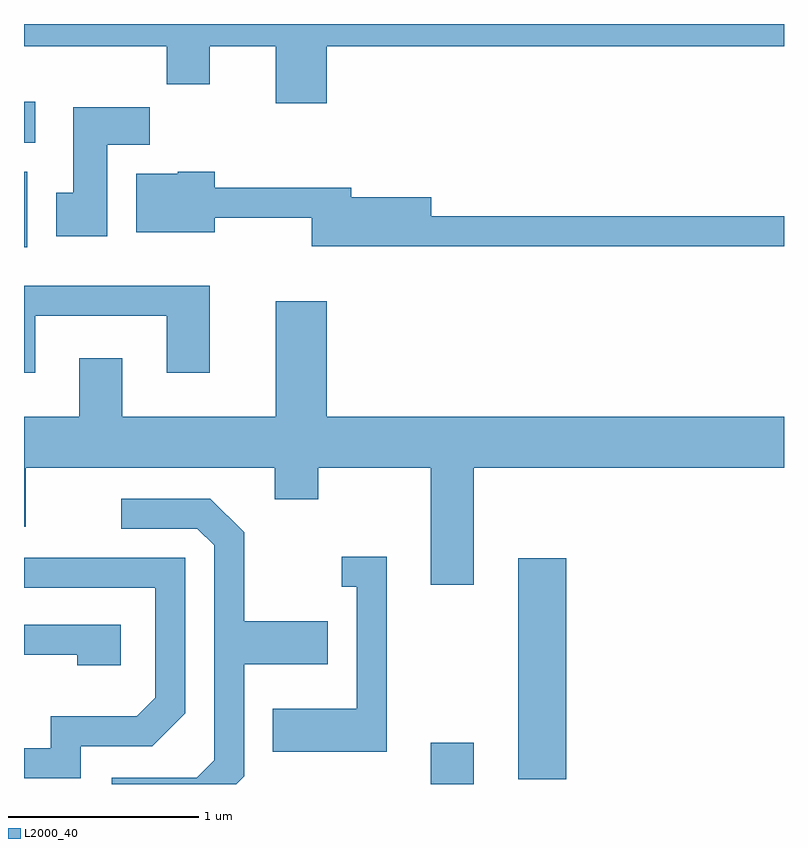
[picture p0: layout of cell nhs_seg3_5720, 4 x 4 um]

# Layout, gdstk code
import gdstk
lib = gdstk.Library(unit=1e-6, precision=1e-09)
def R(c, l, rs):  # rectangles x0, y0, x1, y1
    for r in rs: c.add(gdstk.rectangle(r[:2], r[2:], *l))
def P(c, l, *ps):  # polygons
    for p in ps: c.add(gdstk.Polygon(p, *l))
L2000_40 = (2000, 40)

nhs_seg3_5720 = lib.new_cell('nhs_seg3_5720')
R(nhs_seg3_5720, L2000_40, [(355.751,1139.892,355.979,1140.109), (356.211,1139.916,356.464,1141.079), (353.611,1142.716,353.629,1143.114), (353.611,1143.266,353.669,1143.484)])
P(nhs_seg3_5720, L2000_40, [(355.204,1143.776),(357.611,1143.776),(357.611,1143.892),(353.611,1143.892),(353.611,1143.776),(354.361,1143.776),(354.361,1143.576),(354.589,1143.576),(354.589,1143.776),(354.936,1143.776),(354.936,1143.476),(355.204,1143.476)],
  [(354.049,1143.256),(354.274,1143.256),(354.274,1143.454),(353.871,1143.454),(353.871,1143.004),(353.781,1143.004),(353.781,1142.776),(354.049,1142.776)],
  [(357.611,1142.879),(355.754,1142.879),(355.754,1142.979),(355.334,1142.979),(355.334,1143.029),(354.614,1143.029),(354.614,1143.114),(354.42,1143.114),(354.42,1143.104),(354.201,1143.104),(354.201,1142.796),(354.614,1142.796),(354.614,1142.871),(355.126,1142.871),(355.126,1142.721),(357.611,1142.721)],
  [(353.669,1142.356),(354.361,1142.356),(354.361,1142.056),(354.589,1142.056),(354.589,1142.514),(353.611,1142.514),(353.611,1142.056),(353.669,1142.056)],
  [(355.979,1141.556),(357.611,1141.556),(357.611,1141.824),(355.204,1141.824),(355.204,1142.434),(354.936,1142.434),(354.936,1141.824),(354.129,1141.824),(354.129,1142.134),(353.901,1142.134),(353.901,1141.824),(353.611,1141.824),(353.611,1141.246),(353.619,1141.246),(353.619,1141.556),(354.931,1141.556),(354.931,1141.391),(355.159,1141.391),(355.159,1141.556),(355.751,1141.556),(355.751,1140.941),(355.979,1140.941)],
  [(354.769,1139.934),(354.769,1140.521),(355.209,1140.521),(355.209,1140.749),(354.769,1140.749),(354.769,1141.217),(354.592,1141.394),(354.123,1141.394),(354.123,1141.236),(354.524,1141.236),(354.611,1141.149),(354.611,1140.017),(354.519,1139.924),(354.073,1139.924),(354.073,1139.892),(354.727,1139.892)],
  [(355.519,1141.089),(355.283,1141.089),(355.283,1140.931),(355.361,1140.931),(355.361,1140.289),(354.921,1140.289),(354.921,1140.061),(355.519,1140.061)],
  [(353.909,1140.091),(354.287,1140.091),(354.459,1140.264),(354.459,1141.084),(353.611,1141.084),(353.611,1140.926),(354.301,1140.926),(354.301,1140.347),(354.204,1140.249),(353.751,1140.249),(353.751,1140.079),(353.611,1140.079),(353.611,1139.921),(353.909,1139.921)],
  [(354.119,1140.729),(353.611,1140.729),(353.611,1140.571),(353.891,1140.571),(353.891,1140.516),(354.119,1140.516)])

lib.write_gds('nhs_seg3_5720.gds')
